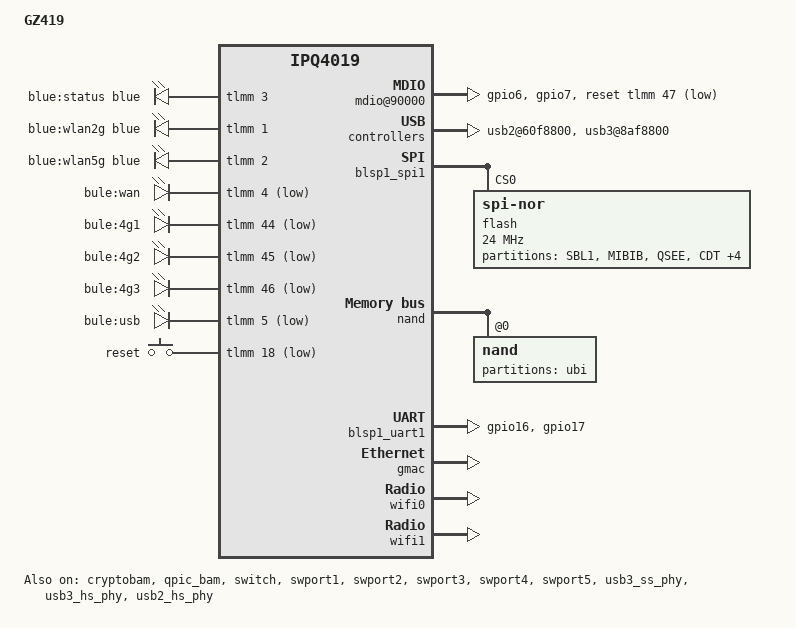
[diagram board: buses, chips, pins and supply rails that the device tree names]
// SPDX-License-Identifier: GPL-2.0-or-later OR MIT

#include "qcom-ipq4019.dtsi"
#include <dt-bindings/gpio/gpio.h>
#include <dt-bindings/input/input.h>
#include <dt-bindings/soc/qcom,tcsr.h>
#include <dt-bindings/leds/common.h>

/ {
	model = "GZ419";
	compatible = "pangu,l1000";

	chosen {
		bootargs-append = " ubi.mtd=ubi root=/dev/ubiblock0_1";
	};

	aliases {
		led-boot = &power;
		led-failsafe = &power;
		led-running = &power;
		led-upgrade = &power;
	};

	soc {
		rng@22000 {
			status = "okay";
		};

		mdio@90000 {
			status = "okay";
			pinctrl-0 = <&mdio_pins>;
			pinctrl-names = "default";
			reset-gpios = <&tlmm 47 GPIO_ACTIVE_LOW>;
			reset-delay-us = <2000>;
		};

		tcsr@1949000 {
			compatible = "qcom,tcsr";
			reg = <0x1949000 0x100>;
			qcom,wifi_glb_cfg = <TCSR_WIFI_GLB_CFG>;
		};

		tcsr@194b000 {
			compatible = "qcom,tcsr";
			reg = <0x194b000 0x100>;
			qcom,usb-hsphy-mode-select = <TCSR_USB_HSPHY_HOST_MODE>;
		};

		ess_tcsr@1953000 {
			compatible = "qcom,tcsr";
			reg = <0x1953000 0x1000>;
			qcom,ess-interface-select = <TCSR_ESS_PSGMII>;
		};

		tcsr@1957000 {
			compatible = "qcom,tcsr";
			reg = <0x1957000 0x100>;
			qcom,wifi_noc_memtype_m0_m2 = <TCSR_WIFI_NOC_MEMTYPE_M0_M2>;
		};

		usb2@60f8800 {
			status = "okay";
		};

		usb3@8af8800 {
			status = "okay";
		};

		crypto@8e3a000 {
			status = "okay";
		};

		watchdog@b017000 {
			status = "okay";
		};
	};

	leds {
		compatible = "gpio-leds";

		power: status {
			label = "blue:status";
			gpios = <&tlmm 3 GPIO_ACTIVE_HIGH>;
			color = <LED_COLOR_ID_BLUE>;
			function = LED_FUNCTION_POWER;
		};

		wlan2g {
			label = "blue:wlan2g";
			gpios = <&tlmm 1 GPIO_ACTIVE_HIGH>;
			linux,default-trigger = "phy0tpt";
			color = <LED_COLOR_ID_BLUE>;
			function = LED_FUNCTION_WLAN;
			function-enumerator = <0>;
		};

		wlan5g {
			label = "blue:wlan5g";
			gpios = <&tlmm 2 GPIO_ACTIVE_HIGH>;
			linux,default-trigger = "phy1tpt";
			color = <LED_COLOR_ID_BLUE>;
			function = LED_FUNCTION_WLAN;
			function-enumerator = <1>;
		};

		wan {
			label = "bule:wan";
			gpios = <&tlmm 4 GPIO_ACTIVE_LOW>;
		};
     
		4g1 {
			label = "bule:4g1";
			gpios = <&tlmm 44 GPIO_ACTIVE_LOW>;
		};
     
		4g2 {
			label = "bule:4g2";
			gpios = <&tlmm 45 GPIO_ACTIVE_LOW>;
		};
     
		4g3 {
			label = "bule:4g3";
			gpios = <&tlmm 46 GPIO_ACTIVE_LOW>;
		};
     
	    	usb {
			label = "bule:usb";
			gpios = <&tlmm 5 GPIO_ACTIVE_LOW>;
			trigger-sources = <&usb2>, <&usb3>;
			linux,default-trigger = "usbport";
		};   
	};

	keys {
		compatible = "gpio-keys";

		reset {
			label = "reset";
			gpios = <&tlmm 18 GPIO_ACTIVE_LOW>;
			linux,code = <KEY_RESTART>;
		};
	};
};

&blsp_dma {
	status = "okay";
};

&blsp1_spi1 {
	status = "okay";

	flash@0 {
		reg = <0>;
		compatible = "jedec,spi-nor";
		spi-max-frequency = <24000000>;

		partitions {
			compatible = "fixed-partitions";
			#address-cells = <1>;
			#size-cells = <1>;

			partition@0 {
				label = "SBL1";
				reg = <0x0 0x40000>;
				read-only;
			};

			partition@40000 {
				label = "MIBIB";
				reg = <0x40000 0x20000>;
				read-only;
			};

			partition@60000 {
				label = "QSEE";
				reg = <0x60000 0x60000>;
				read-only;
			};

			partition@c0000 {
				label = "CDT";
				reg = <0xc0000 0x10000>;
				read-only;
			};

			partition@d0000 {
				label = "DDRPARAMS";
				reg = <0xd0000 0x10000>;
				read-only;
			};

			partition@e0000 {
				label = "APPSBLENV";
				reg = <0xe0000 0x10000>;
				read-only;
			};

			partition@f0000 {
				label = "APPSBL";
				reg = <0xf0000 0x80000>;
				read-only;
			};

			partition@170000 {
				label = "ART";
				reg = <0x170000 0x10000>;
				read-only;
				compatible = "nvmem-cells";
				#address-cells = <1>;
				#size-cells = <1>;

				precal_art_1000: precal@1000 {
					reg = <0x1000 0x2f20>;
				};

				precal_art_5000: precal@5000 {
					reg = <0x5000 0x2f20>;
				};

				macaddr_art_0: macaddr@0 {
					reg = <0x0 0x6>;
				};

				macaddr_art_6: macaddr@6 {
					reg = <0x6 0x6>;
				};
			};
		};
	};
};

&nand {
	status = "okay";

	nand@0 {
		partitions {
			compatible = "fixed-partitions";
			#address-cells = <1>;
			#size-cells = <1>;

			nand_rootfs: partition@0 {
				label = "ubi";
				reg = <0x0 0x8000000>;
			};
		};
	};
};

&blsp1_uart1 {
	pinctrl-0 = <&serial_0_pins>;
	pinctrl-names = "default";
	status = "okay";
};

&cryptobam {
	status = "okay";
};

&qpic_bam {
	status = "okay";
};

&tlmm {
	mdio_pins: mdio_pinmux {
		mux_1 {
			pins = "gpio6";
			function = "mdio";
			bias-pull-up;
		};

		mux_2 {
			pins = "gpio7";
			function = "mdc";
			bias-pull-up;
		};
	};

	serial_0_pins: serial0-pinmux {
		mux {
			pins = "gpio16", "gpio17";
			function = "blsp_uart0";
			bias-disable;
		};
	};
};

&gmac {
	status = "okay";
};

&switch {
	status = "okay";
};

&swport1 {
	status = "okay";

	nvmem-cells = <&macaddr_art_0>;
	nvmem-cell-names = "mac-address";
};

&swport2 {
	status = "okay";

	nvmem-cells = <&macaddr_art_0>;
	nvmem-cell-names = "mac-address";
};

&swport3 {
	status = "okay";

	nvmem-cells = <&macaddr_art_0>;
	nvmem-cell-names = "mac-address";
};

&swport4 {
	status = "okay";

	nvmem-cells = <&macaddr_art_0>;
	nvmem-cell-names = "mac-address";
};

&swport5 {
	status = "okay";

	nvmem-cells = <&macaddr_art_6>;
	nvmem-cell-names = "mac-address";
};

&usb3_ss_phy {
	status = "okay";
};

&usb3_hs_phy {
	status = "okay";
};

&usb2_hs_phy {
	status = "okay";
};

&wifi0 {
	status = "okay";

	nvmem-cell-names = "pre-calibration", "mac-address";
	nvmem-cells = <&precal_art_1000>, <&macaddr_art_0>;
	qcom,ath10k-calibration-variant = "PANGU-L1000";
};

&wifi1 {
	status = "okay";

	nvmem-cell-names = "pre-calibration", "mac-address";
	nvmem-cells = <&precal_art_5000>, <&macaddr_art_0>;
	qcom,ath10k-calibration-variant = "PANGU-L1000";
};
